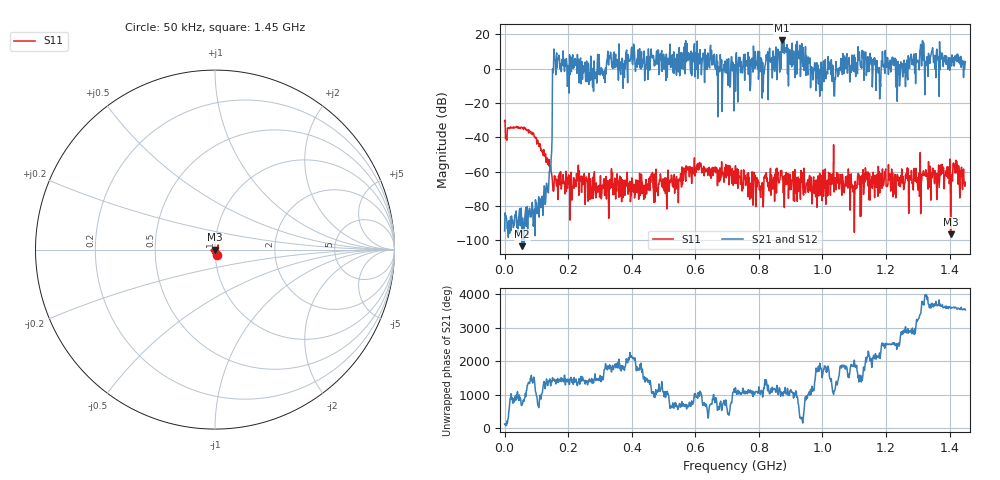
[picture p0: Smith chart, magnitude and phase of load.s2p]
! Created with skrf 1.11.0 (http://scikit-rf.org).
# Hz S RI R 50.0
!freq ReS11 ImS11 ReS21 ImS21 ReS12 ImS12 ReS22 ImS22
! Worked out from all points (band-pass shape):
!   1001 points, 50 kHz to 1.45 GHz, reference 50 ohm
!   highest |S21| = 16.40 dB at 871.5 MHz (marker M1); lowest = -103.5 dB at 55.15 MHz (marker M2)
!   |S21| within 3 dB of the highest: 359.5701 MHz to 359.7309 MHz (160.8 kHz wide, 0.0447 % of centre); 871.2063 MHz to 874.1303 MHz (2.924 MHz wide, 0.335 % of centre) (the widest 2 of 21)
!   lowest |S11| = -96.5 dB at 1.404 GHz (marker M3), VSWR 1.00, Z = 50 + j0.0001 ohm
!   |S11| at or under -10 dB: start of sweep to end of sweep
!   |S22| runs from - to - dB; largest |S21 - S12| = 0
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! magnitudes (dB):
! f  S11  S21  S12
! 50 kHz  -30.6  -94.6  -94.6
! 55.15 MHz  -34.5  -103.5  -103.5
! 134.9 MHz  -54.6  -69.9  -69.9
! 142.1 MHz  -54.0  -59.3  -59.3
! 158.1 MHz  -63.5  5.0  5.0
! 242.2 MHz  -72.2  -0.5  -0.5
! 298.7 MHz  -74.9  -0.1  -0.1
! 484.3 MHz  -67.3  10.6  10.6
! 611.9 MHz  -58.8  8.4  8.4
! 725 MHz  -66.9  0.8  0.8
! 790.3 MHz  -80.5  6.6  6.6
! 807.7 MHz  -68.2  6.0  6.0
! 871.5 MHz  -59.2  16.4  16.4
! 967.2 MHz  -78.9  -1.3  -1.3
! 1.176 GHz  -57.0  -2.5  -2.5
! 1.209 GHz  -64.9  3.2  3.2
! 1.238 GHz  -63.1  4.2  4.2
! 1.314 GHz  -61.4  11.1  11.1
! 1.328 GHz  -60.9  1.7  1.7
! 1.404 GHz  -96.5  3.8  3.8
! 1.418 GHz  -60.7  7.2  7.2
! 1.45 GHz  -66.2  4.1  4.1
